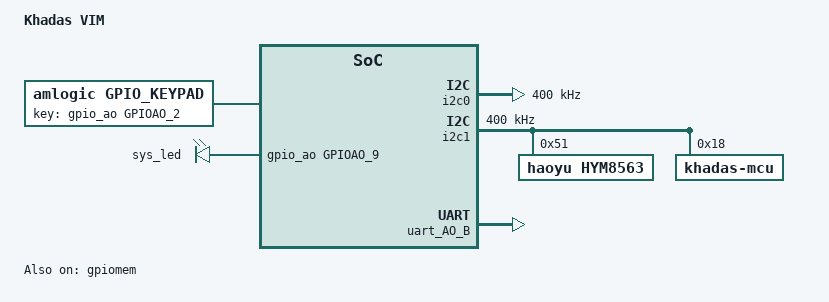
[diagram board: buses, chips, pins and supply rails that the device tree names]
#include "gxl_p212_2g.dts"

/{
	coreelec-dt-id = "gxl_p212_2g_kvim";
	model = "Khadas VIM";

	/delete-node/ mtd_nand;

/* look into gpiomem driver in Khadas kernel */
	gpiomem {
		compatible = "amlogic, gpiomem";
		reg = <0x0 0xda834000 0x0 0x1000>;
		status = "okay";
	};

	gpio_keypad {
		compatible = "amlogic, gpio_keypad";
		status = "okay";
		scan_period = <20>;
		key_num = <1>;
		key_name = "power";
		key_code = <116>;
		key-gpios = <&gpio_ao  GPIOAO_2  GPIO_ACTIVE_HIGH>;
		detect_mode = <0>;/*0:polling mode, 1:irq mode*/
	};

	/delete-node/ sysled;
	gpioleds {
		compatible = "gpio-leds";
		status = "okay";

		sys_led {
			label="sys_led";
			gpios=<&gpio_ao GPIOAO_9 GPIO_ACTIVE_HIGH>;
			default-state ="on";
			retain-state-suspended;
			linux,default-trigger="default-on";
		};
	};

	rtc {
		status = "disabled";
	};

	jtag {
		status = "disabled";
		select = "disable";
	};

	aml_sound_meson {
		/delete-property/ mute_gpio-gpios;
		/delete-property/ mute_inv;
	};
};

&i2c0 {
	status = "okay";
	clock-frequency = <400000>;
	pinctrl-names="default";
	pinctrl-0=<&a_i2c_master>;
};

&i2c1 {
	status = "okay";
	clock-frequency = <400000>;
	pinctrl-names="default";
	pinctrl-0=<&b_i2c_master>;

	hym8563: hym8563@51 {
		compatible = "haoyu,hym8563";
		reg = <0x51>;

		#clock-cells = <0>;
	};

	khadas-mcu {
		compatible = "khadas-mcu";
		reg = <0x18>;
		fan,trig_temp_level0 = <50>;
		fan,trig_temp_level1 = <60>;
		fan,trig_temp_level2 = <70>;
		hwver = "VIM1.V12"; /* Will be updated in uboot. */
	};
};

&uart_AO_B {
	status = "okay";
};
